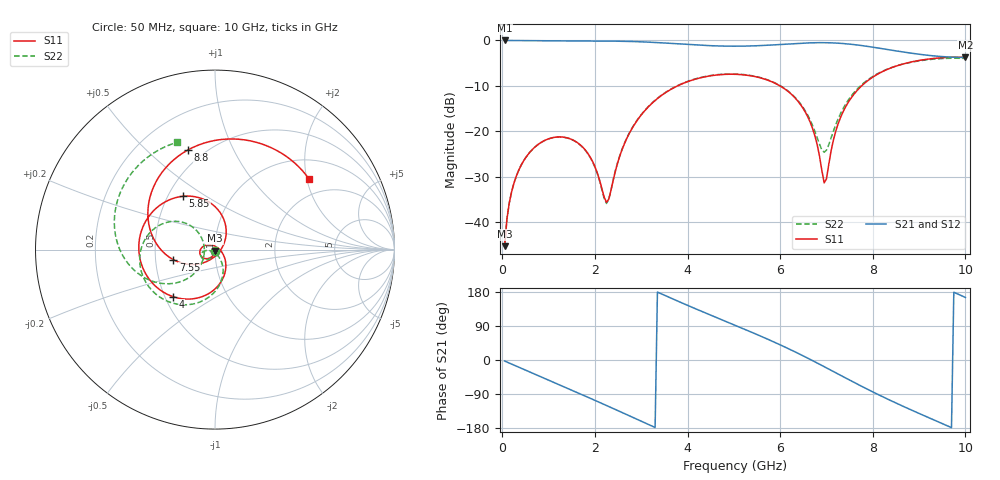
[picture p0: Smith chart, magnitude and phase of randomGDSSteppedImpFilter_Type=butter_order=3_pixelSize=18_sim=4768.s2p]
! freq	dB(S11)	phase(S11)	dB(S12)	phase(S12)
!  dB(S21)	phase(S21)	dB(S22)	phase(S22)
!S-par simulation data
#  GHz  S  DB  R 50
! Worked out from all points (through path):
!   200 points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, 50 MHz to 10 GHz, reference 50 ohm
!   highest |S21| = -0.01 dB at 50 MHz (marker M1); lowest = -3.7 dB at 10 GHz (marker M2)
!   group delay of S21, straight-line fit = 155 ps
!   lowest |S11| = -45.2 dB at 50 MHz (marker M3), VSWR 1.01, Z = 50 - j0.548 ohm
!   |S11| at or under -10 dB: start of sweep to 3.783 GHz; 5.998 GHz to 7.758 GHz (1.76 GHz wide, 25.6 % of centre)
!   |S22| runs from -45.2 to -3.9 dB; largest |S21 - S12| = 0
!   S11 on the Smith chart (normalised r, x): 50 MHz: 1.00, -0.01; 4 GHz: 0.55, -0.33; 5.85 GHz: 0.60, +0.40; 7.55 GHz: 0.62, -0.07; 8.8 GHz: 0.41, +0.68; 10 GHz: 1.49, +2.06
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0.05  -45.22 -90.0  -0.01 -2.7  -0.01 -2.7  -45.22 -89.6
0.1  -39.25 -94.4  -0.01 -5.4  -0.01 -5.4  -39.25 -93.5
0.2  -33.31 -101.0  -0.02 -10.7  -0.02 -10.7  -33.31 -99.3
0.55  -25.14 -122.1  -0.05 -29.4  -0.05 -29.4  -25.12 -117.3
1.15  -21.26 -157.7  -0.11 -61.1  -0.11 -61.1  -21.27 -146.2
1.75  -23.60 162.9  -0.13 -93.0  -0.13 -93.0  -23.65 -170.8
2  -27.73 138.9  -0.13 -106.5  -0.13 -106.5  -27.86 -173.8
2.25  -35.59 62.3  -0.14 -120.1  -0.14 -120.1  -35.84 -121.9
2.7  -21.29 -47.6  -0.21 -144.8  -0.21 -144.8  -21.20 -63.2
3.4  -12.38 -96.1  -0.51 176.5  -0.51 176.5  -12.31 -91.9
4  -9.07 -132.0  -0.89 144.2  -0.89 144.2  -9.01 -119.9
5.05  -7.45 168.5  -1.27 90.4  -1.27 90.4  -7.39 -166.7
5.85  -9.22 120.8  -0.99 48.4  -0.99 48.4  -9.15 158.7
6.35  -12.95 86.3  -0.67 19.8  -0.67 19.8  -12.83 139.0
6.7  -19.35 54.8  -0.51 -1.6  -0.51 -1.6  -18.69 135.8
6.95  -31.30 -25.5  -0.49 -17.5  -0.49 -17.5  -24.56 -179.9
7.25  -18.38 -138.4  -0.60 -36.9  -0.60 -36.9  -17.29 -131.1
7.55  -12.41 -166.6  -0.87 -56.2  -0.87 -56.2  -12.01 -135.9
8.35  -6.21 134.5  -2.05 -104.9  -2.05 -104.9  -6.16 -171.2
8.8  -4.81 105.3  -2.76 -130.2  -2.76 -130.2  -4.85 168.0
9.35  -3.92 72.4  -3.43 -159.8  -3.43 -159.8  -4.08 142.5
10  -3.67 37.0  -3.75 165.1  -3.75 165.1  -3.96 109.4
